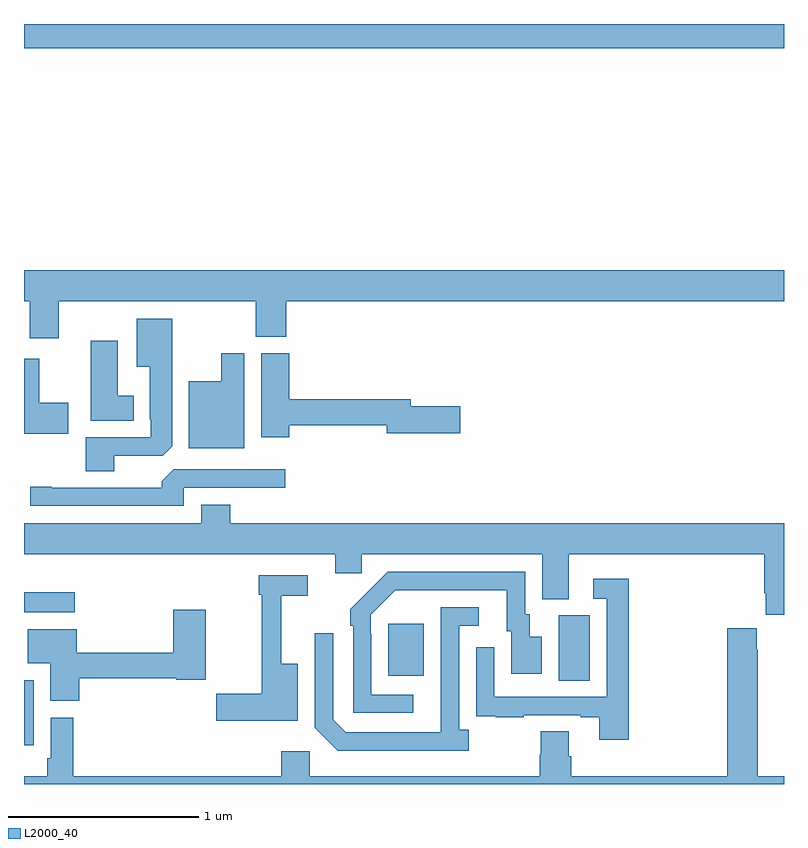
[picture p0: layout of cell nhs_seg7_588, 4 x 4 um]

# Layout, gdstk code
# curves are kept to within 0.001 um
import gdstk
lib = gdstk.Library(unit=1e-6, precision=1e-09)
def R(c, l, rs):  # rectangles x0, y0, x1, y1
    for r in rs: c.add(gdstk.rectangle(r[:2], r[2:], *l))
def P(c, l, *ps):  # polygons
    for p in ps: c.add(gdstk.Polygon(p, *l))
L2000_40 = (2000, 40)

nhs_seg7_588 = lib.new_cell('nhs_seg7_588')
R(nhs_seg7_588, L2000_40, [(155,1074.204,155.05,1074.546), (157.814,1074.544,157.978,1074.888), (156.917,1074.569,157.105,1074.844), (155,1074.905,155.266,1075.009), (155,1077.872,159,1078)])
P(nhs_seg7_588, L2000_40, [(155.182,1076.54),(156.22,1076.54),(156.22,1076.353),(156.38,1076.353),(156.38,1076.54),(159,1076.54),(159,1076.704),(155,1076.704),(155,1076.54),(155.03,1076.54),(155.03,1076.346),(155.182,1076.346)],
  [(155.476,1075.728),(155.73,1075.728),(155.779,1075.777),(155.779,1076.449),(155.594,1076.449),(155.594,1076.195),(155.663,1076.195),(155.663,1075.921),(155.667,1075.921),(155.667,1075.824),(155.324,1075.824),(155.324,1075.645),(155.476,1075.645)],
  [(155.578,1076.044),(155.494,1076.044),(155.494,1076.332),(155.351,1076.332),(155.351,1075.913),(155.578,1075.913)],
  [(156.395,1075.888),(156.908,1075.888),(156.908,1075.846),(157.297,1075.846),(157.297,1075.988),(157.036,1075.988),(157.036,1076.024),(156.395,1076.024),(156.395,1076.268),(156.248,1076.268),(156.248,1075.824),(156.395,1075.824)],
  [(156.16,1076.266),(156.038,1076.266),(156.038,1076.119),(155.867,1076.119),(155.867,1075.766),(156.16,1075.766)],
  [(155.233,1076.007),(155.08,1076.007),(155.08,1076.239),(155,1076.239),(155,1075.844),(155.233,1075.844)],
  [(155.841,1075.56),(156.376,1075.56),(156.376,1075.656),(155.787,1075.656),(155.726,1075.594),(155.726,1075.56),(155.146,1075.56),(155.146,1075.565),(155.034,1075.565),(155.034,1075.464),(155.841,1075.464)],
  [(159,1075.372),(156.086,1075.372),(156.086,1075.471),(155.933,1075.471),(155.933,1075.372),(155,1075.372),(155,1075.208),(156.638,1075.208),(156.638,1075.11),(156.777,1075.11),(156.777,1075.208),(157.727,1075.208),(157.727,1074.973),(157.867,1074.973),(157.867,1075.208),(158.897,1075.208),(158.897,1075.003),(158.903,1075.003),(158.903,1074.891),(159,1074.891)],
  [(157.048,1074.471),(156.828,1074.471),(156.828,1074.791),(156.825,1074.791),(156.825,1074.891),(156.954,1075.02),(157.541,1075.02),(157.541,1074.804),(157.565,1074.804),(157.565,1074.579),(157.726,1074.579),(157.726,1074.775),(157.663,1074.775),(157.663,1074.894),(157.638,1074.894),(157.638,1075.116),(156.914,1075.116),(156.717,1074.921),(156.717,1074.833),(156.732,1074.833),(156.732,1074.375),(157.048,1074.375)],
  [(156.442,1074.634),(156.353,1074.634),(156.353,1074.99),(156.493,1074.99),(156.493,1075.098),(156.235,1075.098),(156.235,1074.995),(156.25,1074.995),(156.25,1074.476),(156.012,1074.476),(156.012,1074.334),(156.442,1074.334)],
  [(158.183,1075.081),(157.995,1075.081),(157.995,1074.975),(158.067,1074.975),(158.067,1074.459),(157.476,1074.459),(157.476,1074.721),(157.38,1074.721),(157.38,1074.466),(157.381,1074.466),(157.381,1074.357),(157.483,1074.357),(157.483,1074.351),(157.631,1074.351),(157.631,1074.363),(157.931,1074.363),(157.931,1074.351),(158.027,1074.351),(158.027,1074.234),(158.183,1074.234)],
  [(157.342,1074.286),(157.29,1074.286),(157.29,1074.834),(157.393,1074.834),(157.393,1074.93),(157.194,1074.93),(157.193,1074.273),(156.693,1074.273),(156.627,1074.339),(156.627,1074.793),(156.531,1074.793),(156.531,1074.297),(156.652,1074.176),(157.342,1074.176)],
  [(155.291,1074.556),(155.802,1074.556),(155.802,1074.548),(155.956,1074.548),(155.956,1074.916),(155.786,1074.916),(155.786,1074.692),(155.278,1074.692),(155.278,1074.814),(155.021,1074.814),(155.021,1074.635),(155.138,1074.635),(155.138,1074.438),(155.291,1074.438)],
  [(159,1074.04),(158.862,1074.04),(158.862,1074.707),(158.857,1074.707),(158.857,1074.82),(158.702,1074.82),(158.702,1074.04),(157.88,1074.04),(157.88,1074.146),(157.867,1074.146),(157.867,1074.278),(157.72,1074.278),(157.72,1074.153),(157.715,1074.153),(157.715,1074.04),(156.504,1074.04),(156.504,1074.172),(156.353,1074.172),(156.353,1074.04),(155.258,1074.04),(155.258,1074.349),(155.142,1074.349),(155.142,1074.136),(155.122,1074.136),(155.122,1074.04),(155,1074.04),(155,1074),(159,1074)])

lib.write_gds('nhs_seg7_588.gds')
